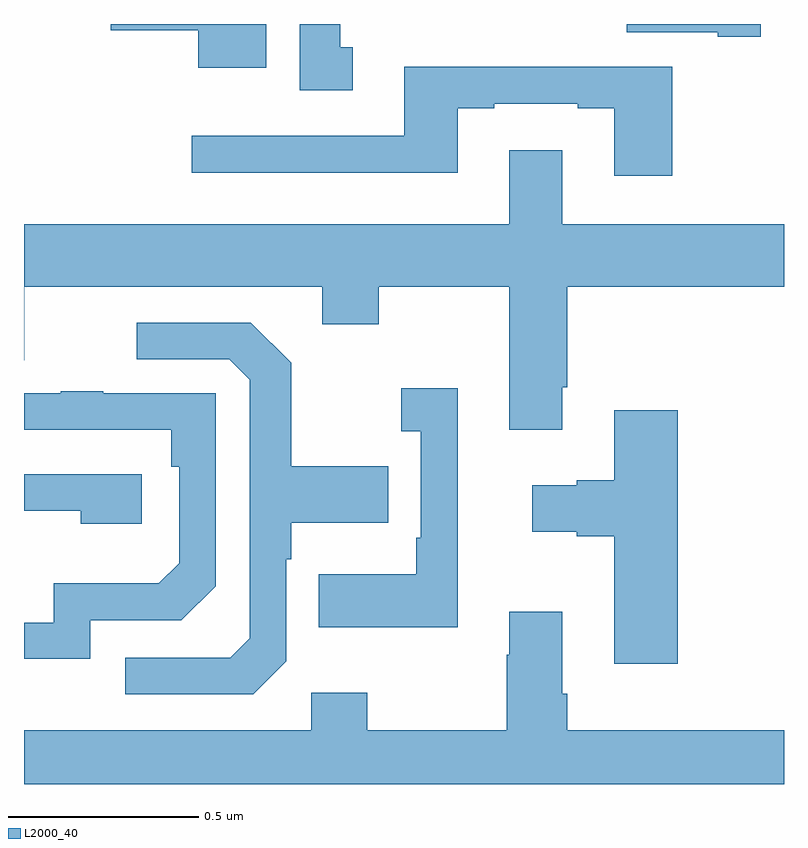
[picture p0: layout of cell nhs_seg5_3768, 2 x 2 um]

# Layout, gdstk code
import gdstk
lib = gdstk.Library(unit=1e-6, precision=1e-09)
def P(c, l, *ps):  # polygons
    for p in ps: c.add(gdstk.Polygon(p, *l))
L2000_40 = (2000, 40)

nhs_seg5_3768 = lib.new_cell('nhs_seg5_3768')
P(nhs_seg5_3768, L2000_40, [(162.865,842.738),(162.832,842.738),(162.832,842.799),(162.725,842.799),(162.725,842.625),(162.865,842.625)],
  [(163.939,842.799),(163.586,842.799),(163.586,842.777),(163.826,842.777),(163.826,842.765),(163.939,842.765)],
  [(162.637,842.799),(162.228,842.799),(162.228,842.783),(162.458,842.783),(162.458,842.684),(162.637,842.684)],
  [(163.706,842.686),(163.001,842.686),(163.001,842.505),(162.441,842.505),(162.441,842.408),(163.141,842.408),(163.141,842.577),(163.237,842.577),(163.237,842.589),(163.457,842.589),(163.457,842.577),(163.553,842.577),(163.553,842.4),(163.706,842.4)],
  [(163.417,841.843),(163.43,841.843),(163.43,842.108),(164,842.108),(164,842.272),(163.417,842.272),(163.417,842.467),(163.277,842.467),(163.277,842.272),(162,842.272),(162,841.914),(162.001,841.914),(162.001,842.108),(162.785,842.108),(162.785,842.009),(162.933,842.009),(162.933,842.108),(163.277,842.108),(163.277,841.731),(163.417,841.731)],
  [(162.69,841.122),(162.69,841.391),(162.703,841.391),(162.703,841.487),(162.959,841.487),(162.959,841.635),(162.703,841.635),(162.703,841.907),(162.597,842.013),(162.297,842.013),(162.297,841.917),(162.54,841.917),(162.594,841.863),(162.594,841.182),(162.543,841.131),(162.267,841.131),(162.267,841.035),(162.603,841.035)],
  [(163.142,841.84),(162.993,841.84),(162.993,841.727),(163.044,841.727),(163.044,841.447),(163.032,841.447),(163.032,841.351),(162.775,841.351),(162.775,841.211),(163.142,841.211)],
  [(162.174,841.23),(162.414,841.23),(162.504,841.32),(162.504,841.827),(162.209,841.827),(162.209,841.832),(162.097,841.832),(162.097,841.827),(162,841.827),(162,841.731),(162.388,841.731),(162.388,841.634),(162.408,841.634),(162.408,841.38),(162.355,841.327),(162.078,841.327),(162.078,841.224),(162,841.224),(162,841.128),(162.174,841.128)],
  [(163.721,841.783),(163.553,841.783),(163.553,841.598),(163.454,841.598),(163.454,841.585),(163.338,841.585),(163.338,841.463),(163.454,841.463),(163.454,841.451),(163.553,841.451),(163.553,841.116),(163.721,841.116)],
  [(162.31,841.614),(162,841.614),(162,841.518),(162.149,841.518),(162.149,841.484),(162.31,841.484)],
  [(164,840.94),(163.43,840.94),(163.43,841.036),(163.417,841.036),(163.417,841.252),(163.277,841.252),(163.277,841.139),(163.27,841.139),(163.27,840.94),(162.903,840.94),(162.903,841.039),(162.756,841.039),(162.756,840.94),(162,840.94),(162,840.799),(164,840.799)])

lib.write_gds('nhs_seg5_3768.gds')
